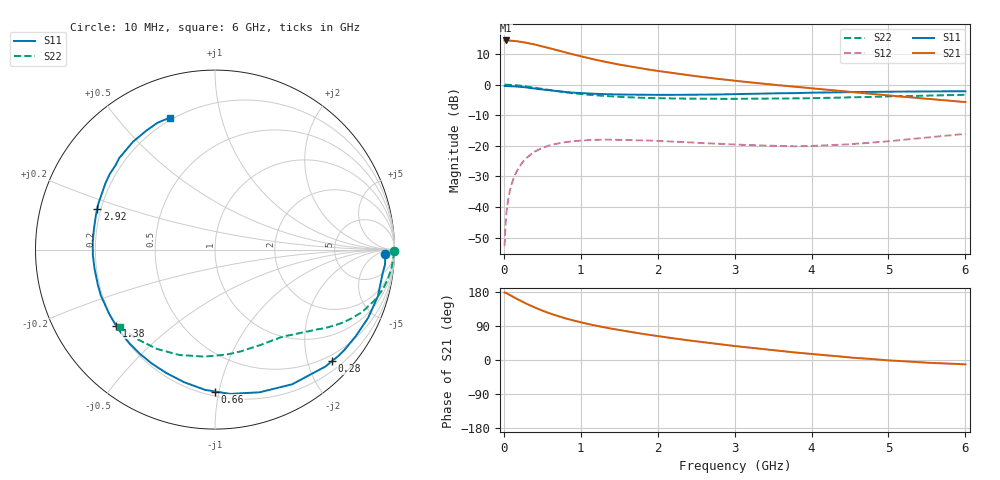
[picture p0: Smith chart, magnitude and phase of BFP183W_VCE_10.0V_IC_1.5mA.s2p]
! Infineon Technologies  Discrete & RF Semiconductors
! BFP183W
! VCE = 10.0V,  IC =  1.5 mA
! Common Emitter S-Parameters:  Jan 2016
# GHz  S  MA  R  50
!  f  S11  S21  S12  S22
! GHz  MAG  ANG  MAG  ANG  MAG  ANG  MAG  ANG
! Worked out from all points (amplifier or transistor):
!   210 points, 10 MHz to 6 GHz, reference 50 ohm
!   highest |S21| = 14.4 dB at 30 MHz (marker M1)
!   |S21| within 3 dB of that: start of sweep to 666.6 MHz
!   unconditionally stable (mu >= 1): 2.579 GHz to end of sweep
!   at 185 MHz: K = 0.08, MSG = 20.8 dB, |S12| = -27.6 dB
!   at 1.52 GHz: K = 0.58, MSG = 12.3 dB, |S12| = -18.1 dB
!   at 6 GHz: K = 1.04, MAG = 3.9 dB, |S12| = -16.1 dB
!   S11 on the Smith chart (normalised r, x): 10 MHz: 30, -16; 280 MHz: 0.37, -2.45; 660 MHz: 0.23, -0.97; 1.38 GHz: 0.20, -0.33; 2.92 GHz: 0.19, +0.16; 6 GHz: 0.19, +0.70
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0.01  0.9491 -1.6  5.203 178.1  0.0023 91.3  0.9969 -0.6
0.02  0.9496 -3.2  5.245 177.8  0.0046 87.7  0.9934 -1.3
0.03  0.9508 -5.0  5.252 176.8  0.0072 88.1  0.9958 -2.0
0.065  0.9416 -10.4  5.224 172.9  0.0152 82.8  0.9916 -4.2
0.11  0.9406 -17.6  5.177 167.9  0.0257 78.5  0.9855 -7.0
0.195  0.9212 -30.9  5.051 158.5  0.044 71.3  0.9653 -12.3
0.28  0.9006 -43.6  4.845 150.0  0.0607 64.0  0.9366 -17.0
0.4  0.865 -60.1  4.523 138.7  0.08 54.9  0.8901 -23.0
0.5  0.8331 -72.6  4.206 130.1  0.0927 48.4  0.8503 -26.9
0.66  0.7906 -89.9  3.735 118.8  0.1064 39.3  0.792 -32.1
0.82  0.7533 -104.8  3.302 108.8  0.1157 32.2  0.7426 -36.3
1.02  0.7229 -120.3  2.849 98.6  0.1223 25.1  0.6969 -40.7
1.2  0.7071 -132.4  2.529 90.5  0.1254 19.9  0.6672 -44.1
1.38  0.6944 -142.4  2.271 83.4  0.1259 16.1  0.6454 -47.1
1.6  0.6859 -153.6  2.022 75.5  0.125 12.6  0.6223 -50.6
2.02  0.6795 -171.0  1.657 62.5  0.1202 8.2  0.5987 -57.6
2.4  0.6825 176.0  1.422 51.8  0.1142 6.1  0.5894 -64.4
2.92  0.6942 160.9  1.185 38.9  0.1062 7.0  0.5841 -73.9
3.1  0.7003 156.1  1.122 34.7  0.1039 8.0  0.585 -77.5
4.1  0.7398 134.4  0.845 14.2  0.1008 20.0  0.6017 -99.3
5.1  0.7667 118.9  0.648 -2.1  0.1222 31.3  0.6435 -122.6
6  0.7771 108.9  0.518 -11.5  0.1568 34.4  0.6815 -140.9
